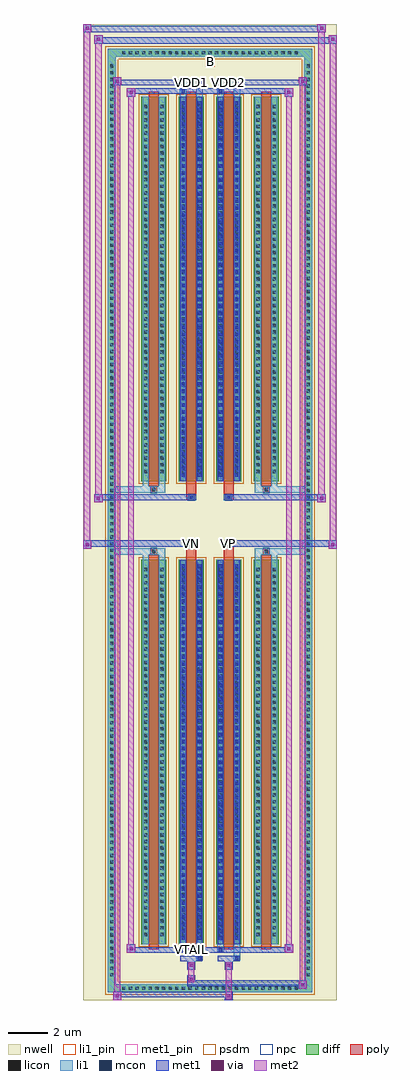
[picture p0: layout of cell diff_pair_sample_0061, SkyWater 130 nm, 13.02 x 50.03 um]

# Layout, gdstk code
import gdstk
lib = gdstk.Library(unit=1e-6, precision=5e-09)
def R(c, l, rs):  # rectangles x0, y0, x1, y1
    for r in rs: c.add(gdstk.rectangle(r[:2], r[2:], *l))
def A(c, l, x, y, w, h, nx, ny, dx, dy):  # array of equal rectangles
    R(c, l, [(x+i*dx, y+j*dy, x+i*dx+w, y+j*dy+h) for i in range(nx) for j in range(ny)])
def P(c, l, *ps):  # polygons
    for p in ps: c.add(gdstk.Polygon(p, *l))
nwell = (64, 20)
diff = (65, 20)
poly = (66, 20)
licon = (66, 44)
li1_pin = (67, 16)
li1 = (67, 20)
mcon = (67, 44)
met1_pin = (68, 16)
met1 = (68, 20)
via = (68, 44)
met2 = (69, 20)
psdm = (94, 20)
npc = (95, 20)

diff_pair_sample_0061 = lib.new_cell('diff_pair_sample_0061')
R(diff_pair_sample_0061, nwell, [(-6.51,-24.58,6.51,25.45), (-3.83,-22.77,-0.01,-0.825), (0.01,-22.77,3.83,-0.825), (-3.83,0.825,-0.01,22.77), (0.01,0.825,3.83,22.77)])
A(diff_pair_sample_0061, diff, -4.625, -24.18, 0.41, 0.41, 27, 2, 0.34, 47.95)
A(diff_pair_sample_0061, diff, -5.24, -23.495, 0.41, 0.41, 1, 138, 0, 0.34)
A(diff_pair_sample_0061, diff, 4.83, -23.495, 0.41, 0.41, 1, 138, 0, 0.34)
A(diff_pair_sample_0061, diff, -3.52, -21.725, 1.28, 19.72, 4, 2, 1.92, 23.73)
R(diff_pair_sample_0061, diff, [(-4.625,-24.18,4.625,-23.77), (-5.24,-23.495,-4.83,23.495), (4.83,-23.495,5.24,23.495), (-4.625,23.77,4.625,24.18)])
P(diff_pair_sample_0061, diff, [(5.24,24.18),(-5.24,24.18),(-5.24,-23.77),(-4.83,-23.77),(-4.83,23.77),(4.83,23.77),(4.83,-23.77),(-4.83,-23.77),(-5.24,-23.77),(-5.24,-24.18),(5.24,-24.18)])
A(diff_pair_sample_0061, poly, -3.13, -21.975, 0.5, 20.22, 4, 2, 1.92, 23.73)
R(diff_pair_sample_0061, poly, [(-3.045,-1.755,-2.715,-1.425), (-3.045,-1.755,-2.715,-1.425), (-1.21,-1.755,-0.71,-1.355), (0.71,-1.755,1.21,-1.355), (2.715,-1.755,3.045,-1.425), (2.715,-1.755,3.045,-1.425), (-1.21,-1.355,-0.71,-1.025), (-1.125,-1.355,-0.795,-1.025), (0.71,-1.355,1.21,-1.025), (0.795,-1.355,1.125,-1.025), (-1.21,1.025,-0.71,1.355), (-1.125,1.025,-0.795,1.355), (0.71,1.025,1.21,1.355), (0.795,1.025,1.125,1.355), (-1.21,1.355,-0.71,1.755), (0.71,1.355,1.21,1.755), (-3.045,1.425,-2.715,1.755), (-3.045,1.425,-2.715,1.755), (2.715,1.425,3.045,1.755), (2.715,1.425,3.045,1.755)])
A(diff_pair_sample_0061, licon, -4.505, -24.06, 0.17, 0.17, 27, 2, 0.34, 47.95)
A(diff_pair_sample_0061, licon, -5.12, -23.375, 0.17, 0.17, 1, 138, 0, 0.34)
A(diff_pair_sample_0061, licon, 4.95, -23.375, 0.17, 0.17, 1, 138, 0, 0.34)
A(diff_pair_sample_0061, licon, -3.38, -21.3, 0.17, 0.17, 1, 56, 0, 0.34)
A(diff_pair_sample_0061, licon, -2.55, -21.3, 0.17, 0.17, 1, 56, 0, 0.34)
A(diff_pair_sample_0061, licon, -1.46, -21.3, 0.17, 0.17, 1, 56, 0, 0.34)
A(diff_pair_sample_0061, licon, -0.63, -21.3, 0.17, 0.17, 1, 56, 0, 0.34)
A(diff_pair_sample_0061, licon, 0.46, -21.3, 0.17, 0.17, 1, 56, 0, 0.34)
A(diff_pair_sample_0061, licon, 1.29, -21.3, 0.17, 0.17, 1, 56, 0, 0.34)
A(diff_pair_sample_0061, licon, 2.38, -21.3, 0.17, 0.17, 1, 56, 0, 0.34)
A(diff_pair_sample_0061, licon, 3.21, -21.3, 0.17, 0.17, 1, 56, 0, 0.34)
A(diff_pair_sample_0061, licon, -3.38, 2.43, 0.17, 0.17, 1, 56, 0, 0.34)
A(diff_pair_sample_0061, licon, -2.55, 2.43, 0.17, 0.17, 1, 56, 0, 0.34)
A(diff_pair_sample_0061, licon, -1.46, 2.43, 0.17, 0.17, 1, 56, 0, 0.34)
A(diff_pair_sample_0061, licon, -0.63, 2.43, 0.17, 0.17, 1, 56, 0, 0.34)
A(diff_pair_sample_0061, licon, 0.46, 2.43, 0.17, 0.17, 1, 56, 0, 0.34)
A(diff_pair_sample_0061, licon, 1.29, 2.43, 0.17, 0.17, 1, 56, 0, 0.34)
A(diff_pair_sample_0061, licon, 2.38, 2.43, 0.17, 0.17, 1, 56, 0, 0.34)
A(diff_pair_sample_0061, licon, 3.21, 2.43, 0.17, 0.17, 1, 56, 0, 0.34)
R(diff_pair_sample_0061, licon, [(-2.965,-1.675,-2.795,-1.505), (2.795,-1.675,2.965,-1.505), (-1.045,-1.275,-0.875,-1.105), (0.875,-1.275,1.045,-1.105), (-1.045,1.105,-0.875,1.275), (0.875,1.105,1.045,1.275), (-2.965,1.505,-2.795,1.675), (2.795,1.505,2.965,1.675)])
R(diff_pair_sample_0061, li1_pin, [(-0.25,23.27,0.25,23.77)])
A(diff_pair_sample_0061, li1, -4.585, -24.14, 0.33, 0.33, 27, 2, 0.34, 47.95)
A(diff_pair_sample_0061, li1, -5.2, -23.455, 0.33, 0.33, 1, 138, 0, 0.34)
A(diff_pair_sample_0061, li1, 4.87, -23.455, 0.33, 0.33, 1, 138, 0, 0.34)
A(diff_pair_sample_0061, li1, -1.46, -21.49, 0.17, 0.17, 1, 54, 0, 0.36)
A(diff_pair_sample_0061, li1, -0.63, -21.49, 0.17, 0.17, 1, 54, 0, 0.36)
A(diff_pair_sample_0061, li1, 0.46, -21.49, 0.17, 0.17, 1, 54, 0, 0.36)
A(diff_pair_sample_0061, li1, 1.29, -21.49, 0.17, 0.17, 1, 54, 0, 0.36)
A(diff_pair_sample_0061, li1, -3.46, -21.38, 0.33, 0.33, 1, 56, 0, 0.34)
A(diff_pair_sample_0061, li1, -2.63, -21.38, 0.33, 0.33, 1, 56, 0, 0.34)
A(diff_pair_sample_0061, li1, -1.54, -21.38, 0.33, 0.33, 1, 56, 0, 0.34)
A(diff_pair_sample_0061, li1, -0.71, -21.38, 0.33, 0.33, 1, 56, 0, 0.34)
A(diff_pair_sample_0061, li1, 0.38, -21.38, 0.33, 0.33, 1, 56, 0, 0.34)
A(diff_pair_sample_0061, li1, 1.21, -21.38, 0.33, 0.33, 1, 56, 0, 0.34)
A(diff_pair_sample_0061, li1, 2.3, -21.38, 0.33, 0.33, 1, 56, 0, 0.34)
A(diff_pair_sample_0061, li1, 3.13, -21.38, 0.33, 0.33, 1, 56, 0, 0.34)
A(diff_pair_sample_0061, li1, -1.46, 2.24, 0.17, 0.17, 1, 54, 0, 0.36)
A(diff_pair_sample_0061, li1, -0.63, 2.24, 0.17, 0.17, 1, 54, 0, 0.36)
A(diff_pair_sample_0061, li1, 0.46, 2.24, 0.17, 0.17, 1, 54, 0, 0.36)
A(diff_pair_sample_0061, li1, 1.29, 2.24, 0.17, 0.17, 1, 54, 0, 0.36)
A(diff_pair_sample_0061, li1, -3.46, 2.35, 0.33, 0.33, 1, 56, 0, 0.34)
A(diff_pair_sample_0061, li1, -2.63, 2.35, 0.33, 0.33, 1, 56, 0, 0.34)
A(diff_pair_sample_0061, li1, -1.54, 2.35, 0.33, 0.33, 1, 56, 0, 0.34)
A(diff_pair_sample_0061, li1, -0.71, 2.35, 0.33, 0.33, 1, 56, 0, 0.34)
A(diff_pair_sample_0061, li1, 0.38, 2.35, 0.33, 0.33, 1, 56, 0, 0.34)
A(diff_pair_sample_0061, li1, 1.21, 2.35, 0.33, 0.33, 1, 56, 0, 0.34)
A(diff_pair_sample_0061, li1, 2.3, 2.35, 0.33, 0.33, 1, 56, 0, 0.34)
A(diff_pair_sample_0061, li1, 3.13, 2.35, 0.33, 0.33, 1, 56, 0, 0.34)
R(diff_pair_sample_0061, li1, [(-5.24,-24.18,-4.83,-23.77), (-5.24,-24.18,-4.83,-23.77), (-4.83,-24.18,4.83,-23.77), (4.83,-24.18,5.24,-23.77), (4.83,-24.18,5.24,-23.77), (-5.24,-23.77,-4.83,23.77), (4.83,-23.77,5.24,23.77), (-0.71,-22.53,-0.38,-21.725), (-0.63,-22.53,-0.46,-22.36), (1.21,-22.53,1.54,-21.725), (1.29,-22.53,1.46,-22.36), (-1.54,-22.1,-1.21,-21.725), (-1.46,-22.1,-1.29,-21.93), (0.38,-22.1,0.71,-21.725), (0.46,-22.1,0.63,-21.93), (-3.46,-21.725,-3.13,-2.005), (-2.63,-21.725,-2.3,-2.005), (-1.54,-21.725,-1.21,-2.005), (-0.71,-21.725,-0.38,-2.005), (0.38,-21.725,0.71,-2.005), (1.21,-21.725,1.54,-2.005), (2.3,-21.725,2.63,-2.005), (3.13,-21.725,3.46,-2.005), (-1.46,-21.49,-1.29,-2.24), (-0.63,-21.49,-0.46,-2.24), (0.46,-21.49,0.63,-2.24), (1.29,-21.49,1.46,-2.24), (-3.46,-2.005,-3.13,-1.425), (-2.63,-2.005,-2.3,-1.425), (2.3,-2.005,2.63,-1.425), (3.13,-2.005,3.46,-1.425), (-5.24,-1.755,-3.045,-1.425), (-3.46,-1.755,-3.045,-1.425), (-3.045,-1.755,-2.715,-1.425), (-2.715,-1.755,-2.3,-1.425), (2.3,-1.755,2.715,-1.425), (2.715,-1.755,3.045,-1.425), (2.715,-1.755,5.24,-1.425), (3.045,-1.755,3.46,-1.425), (-1.125,-1.355,-0.795,-1.025), (0.795,-1.355,1.125,-1.025), (-1.125,1.025,-0.795,1.355), (0.795,1.025,1.125,1.355), (-5.24,1.425,-3.045,1.755), (-3.46,1.425,-3.045,1.755), (-3.46,1.425,-3.13,2.005), (-3.045,1.425,-2.715,1.755), (-2.715,1.425,-2.3,1.755), (-2.63,1.425,-2.3,2.005), (2.3,1.425,2.715,1.755), (2.3,1.425,2.63,2.005), (2.715,1.425,3.045,1.755), (2.715,1.425,5.24,1.755), (3.045,1.425,3.46,1.755), (3.13,1.425,3.46,2.005), (-3.46,2.005,-3.13,21.725), (-2.63,2.005,-2.3,21.725), (-1.54,2.005,-1.21,21.725), (-0.71,2.005,-0.38,21.725), (0.38,2.005,0.71,21.725), (1.21,2.005,1.54,21.725), (2.3,2.005,2.63,21.725), (3.13,2.005,3.46,21.725), (-1.46,2.24,-1.29,21.49), (-0.63,2.24,-0.46,21.49), (0.46,2.24,0.63,21.49), (1.29,2.24,1.46,21.49), (-1.54,21.725,-1.21,22.1), (-0.71,21.725,-0.38,22.53), (0.38,21.725,0.71,22.1), (1.21,21.725,1.54,22.53), (-1.46,21.93,-1.29,22.1), (0.46,21.93,0.63,22.1), (-0.63,22.36,-0.46,22.53), (1.29,22.36,1.46,22.53), (-5.24,23.77,-4.83,24.18), (-5.24,23.77,-4.83,24.18), (-4.83,23.77,4.83,24.18), (4.83,23.77,5.24,24.18), (4.83,23.77,5.24,24.18)])
A(diff_pair_sample_0061, mcon, -1.46, -21.49, 0.17, 0.17, 1, 54, 0, 0.36)
A(diff_pair_sample_0061, mcon, -0.63, -21.49, 0.17, 0.17, 1, 54, 0, 0.36)
A(diff_pair_sample_0061, mcon, 0.46, -21.49, 0.17, 0.17, 1, 54, 0, 0.36)
A(diff_pair_sample_0061, mcon, 1.29, -21.49, 0.17, 0.17, 1, 54, 0, 0.36)
A(diff_pair_sample_0061, mcon, -1.46, 2.24, 0.17, 0.17, 1, 54, 0, 0.36)
A(diff_pair_sample_0061, mcon, -0.63, 2.24, 0.17, 0.17, 1, 54, 0, 0.36)
A(diff_pair_sample_0061, mcon, 0.46, 2.24, 0.17, 0.17, 1, 54, 0, 0.36)
A(diff_pair_sample_0061, mcon, 1.29, 2.24, 0.17, 0.17, 1, 54, 0, 0.36)
R(diff_pair_sample_0061, mcon, [(-0.63,-22.53,-0.46,-22.36), (1.29,-22.53,1.46,-22.36), (-1.46,-22.1,-1.29,-21.93), (0.46,-22.1,0.63,-21.93), (-1.045,-1.275,-0.875,-1.105), (0.875,-1.275,1.045,-1.105), (-1.045,1.105,-0.875,1.275), (0.875,1.105,1.045,1.275), (-1.46,21.93,-1.29,22.1), (0.46,21.93,0.63,22.1), (-0.63,22.36,-0.46,22.53), (1.29,22.36,1.46,22.53)])
R(diff_pair_sample_0061, met1_pin, [(-1.095,-22.14,-0.825,-21.87), (-1.095,-1.295,-0.825,-1.025), (0.825,-1.295,1.095,-1.025), (-1.095,22.32,-0.825,22.59), (0.825,22.32,1.095,22.59)])
A(diff_pair_sample_0061, met1, -1.52, -21.55, 0.29, 0.29, 1, 54, 0, 0.36)
A(diff_pair_sample_0061, met1, -0.69, -21.55, 0.29, 0.29, 1, 54, 0, 0.36)
A(diff_pair_sample_0061, met1, 0.4, -21.55, 0.29, 0.29, 1, 54, 0, 0.36)
A(diff_pair_sample_0061, met1, 1.23, -21.55, 0.29, 0.29, 1, 54, 0, 0.36)
A(diff_pair_sample_0061, met1, -1.52, 2.18, 0.29, 0.29, 1, 54, 0, 0.36)
A(diff_pair_sample_0061, met1, -0.69, 2.18, 0.29, 0.29, 1, 54, 0, 0.36)
A(diff_pair_sample_0061, met1, 0.4, 2.18, 0.29, 0.29, 1, 54, 0, 0.36)
A(diff_pair_sample_0061, met1, 1.23, 2.18, 0.29, 0.29, 1, 54, 0, 0.36)
R(diff_pair_sample_0061, met1, [(-4.97,-24.58,-4.54,-24.15), (0.745,-24.58,1.175,-24.15), (-4.97,-24.44,1.175,-24.15), (4.54,-24.01,4.97,-23.58), (-1.175,-23.87,4.97,-23.58), (-1.175,-23.73,-0.745,-23.3), (-1.175,-23.02,-0.745,-22.59), (0.745,-23.02,1.175,-22.59), (-1.52,-22.59,-0.4,-22.3), (-0.69,-22.59,-0.4,-22.3), (0.4,-22.59,1.52,-22.3), (1.23,-22.59,1.52,-22.3), (-4.26,-22.16,-3.83,-21.73), (-4.26,-22.16,-1.52,-21.87), (-1.52,-22.16,-1.23,-21.87), (-1.52,-22.16,-0.4,-21.87), (-0.4,-22.16,0.4,-21.87), (0.4,-22.16,0.69,-21.87), (0.4,-22.16,1.52,-21.87), (1.52,-22.16,4.26,-21.87), (3.83,-22.16,4.26,-21.73), (-1.52,-21.725,-1.23,-2.005), (-0.69,-21.725,-0.4,-2.005), (0.4,-21.725,0.69,-2.005), (1.23,-21.725,1.52,-2.005), (-6.51,-1.455,-6.08,-1.025), (6.08,-1.455,6.51,-1.025), (-6.51,-1.355,-0.71,-1.025), (-1.21,-1.355,-0.71,-1.025), (0.71,-1.355,1.21,-1.025), (0.71,-1.355,6.51,-1.025), (-1.105,-1.335,-0.815,-1.045), (0.815,-1.335,1.105,-1.045), (-5.94,0.925,-5.51,1.355), (5.51,0.925,5.94,1.355), (-5.94,1.025,-1.21,1.355), (-1.21,1.025,-0.71,1.355), (0.71,1.025,1.21,1.355), (1.21,1.025,5.94,1.355), (-1.105,1.045,-0.815,1.335), (0.815,1.045,1.105,1.335), (-1.52,2.005,-1.23,21.725), (-0.69,2.005,-0.4,21.725), (0.4,2.005,0.69,21.725), (1.23,2.005,1.52,21.725), (-4.26,21.73,-3.83,22.16), (3.83,21.73,4.26,22.16), (-4.26,21.87,-1.52,22.16), (-1.52,21.87,-1.23,22.16), (-1.52,21.87,-0.4,22.16), (-0.4,21.87,0.4,22.16), (0.4,21.87,0.69,22.16), (0.4,21.87,1.52,22.16), (1.52,21.87,4.26,22.16), (-4.97,22.3,-4.54,22.73), (-4.97,22.3,-1.52,22.59), (-1.52,22.3,-0.4,22.59), (-0.69,22.3,-0.4,22.59), (0.4,22.3,1.52,22.59), (1.23,22.3,1.52,22.59), (1.52,22.3,4.97,22.59), (4.54,22.3,4.97,22.73), (-5.94,24.45,-5.51,24.88), (-5.94,24.45,-3.83,24.78), (-3.83,24.45,3.83,24.78), (3.83,24.45,6.51,24.78), (6.08,24.45,6.51,24.88), (-6.51,25.02,-6.08,25.45), (-6.51,25.02,-3.83,25.35), (-3.83,25.02,3.83,25.35), (3.83,25.02,5.94,25.35), (5.51,25.02,5.94,25.45)])
R(diff_pair_sample_0061, via, [(-4.83,-24.44,-4.68,-24.29), (0.885,-24.44,1.035,-24.29), (4.68,-23.87,4.83,-23.72), (-1.035,-23.59,-0.885,-23.44), (-1.035,-22.88,-0.885,-22.73), (0.885,-22.88,1.035,-22.73), (-4.12,-22.02,-3.97,-21.87), (3.97,-22.02,4.12,-21.87), (-6.37,-1.315,-6.22,-1.165), (6.22,-1.315,6.37,-1.165), (-5.8,1.065,-5.65,1.215), (5.65,1.065,5.8,1.215), (-4.12,21.87,-3.97,22.02), (3.97,21.87,4.12,22.02), (-4.83,22.44,-4.68,22.59), (4.68,22.44,4.83,22.59), (-5.8,24.59,-5.65,24.74), (6.22,24.59,6.37,24.74), (-6.37,25.16,-6.22,25.31), (5.65,25.16,5.8,25.31)])
R(diff_pair_sample_0061, met2, [(-4.97,-24.58,-4.54,-24.15), (-4.9,-24.58,-4.61,22.73), (-4.61,-24.58,-4.54,-24.15), (-4.92,-24.53,-4.59,-24.2), (0.795,-24.53,1.125,-24.2), (0.795,-24.2,1.125,-22.97), (4.54,-24.01,4.97,-23.58), (4.61,-24.01,4.9,22.73), (4.9,-24.01,4.97,-23.58), (4.59,-23.96,4.92,-23.63), (-1.125,-23.68,-0.795,-23.35), (-1.125,-23.35,-0.795,-22.97), (-1.125,-22.97,-0.795,-22.64), (0.795,-22.97,1.125,-22.64), (-4.26,-22.16,-3.83,-21.73), (-4.19,-22.16,-3.9,22.16), (-3.9,-22.16,-3.83,-21.73), (3.83,-22.16,4.26,-21.73), (3.9,-22.16,4.19,22.16), (4.19,-22.16,4.26,-21.73), (-4.21,-22.11,-3.88,-21.78), (3.88,-22.11,4.21,-21.78), (-6.51,-1.455,-6.08,-1.025), (-6.46,-1.455,-6.13,25.45), (-6.13,-1.455,-6.08,-1.025), (6.08,-1.455,6.51,-1.025), (6.13,-1.455,6.46,24.88), (6.46,-1.455,6.51,-1.025), (-6.46,-1.405,-6.13,-1.075), (6.13,-1.405,6.46,-1.075), (-5.94,0.925,-5.51,1.355), (-5.89,0.925,-5.56,24.88), (-5.56,0.925,-5.51,1.355), (5.51,0.925,5.94,1.355), (5.56,0.925,5.89,25.45), (5.89,0.925,5.94,1.355), (-5.89,0.975,-5.56,1.305), (5.56,0.975,5.89,1.305), (-4.26,21.73,-3.83,22.16), (-3.9,21.73,-3.83,22.16), (3.83,21.73,4.26,22.16), (4.19,21.73,4.26,22.16), (-4.21,21.78,-3.88,22.11), (3.88,21.78,4.21,22.11), (-4.97,22.3,-4.54,22.73), (-4.61,22.3,-4.54,22.73), (4.54,22.3,4.97,22.73), (4.9,22.3,4.97,22.73), (-4.92,22.35,-4.59,22.68), (4.59,22.35,4.92,22.68), (-5.94,24.45,-5.51,24.88), (-5.56,24.45,-5.51,24.88), (6.08,24.45,6.51,24.88), (6.46,24.45,6.51,24.88), (-5.89,24.5,-5.56,24.83), (6.13,24.5,6.46,24.83), (-6.51,25.02,-6.08,25.45), (-6.13,25.02,-6.08,25.45), (5.51,25.02,5.94,25.45), (5.89,25.02,5.94,25.45), (-6.46,25.07,-6.13,25.4), (5.56,25.07,5.89,25.4)])
A(diff_pair_sample_0061, psdm, -3.65, -21.855, 1.54, 19.98, 4, 2, 1.92, 23.73)
P(diff_pair_sample_0061, psdm, [(5.37,24.31),(-5.37,24.31),(-5.37,-23.64),(-4.7,-23.64),(-4.7,23.64),(4.7,23.64),(4.7,-23.64),(-4.7,-23.64),(-5.37,-23.64),(-5.37,-24.31),(5.37,-24.31)])
R(diff_pair_sample_0061, npc, [(-3.065,-1.775,-2.695,-1.405), (2.695,-1.775,3.065,-1.405), (-1.145,-1.375,-0.775,-1.005), (0.775,-1.375,1.145,-1.005), (-1.145,1.005,-0.775,1.375), (0.775,1.005,1.145,1.375), (-3.065,1.405,-2.695,1.775), (2.695,1.405,3.065,1.775)])
diff_pair_sample_0061.add(gdstk.Label('VTAIL', (-0.96,-22.005), layer=68, texttype=5))
diff_pair_sample_0061.add(gdstk.Label('VN', (-0.96,-1.16), layer=68, texttype=5))
diff_pair_sample_0061.add(gdstk.Label('VP', (0.96,-1.16), layer=68, texttype=5))
diff_pair_sample_0061.add(gdstk.Label('B', (0,23.52), layer=67, texttype=5))
diff_pair_sample_0061.add(gdstk.Label('VDD2', (0.96,22.455), layer=68, texttype=5))
diff_pair_sample_0061.add(gdstk.Label('VDD1', (-0.96,22.455), layer=68, texttype=5))

lib.write_gds('diff_pair_sample_0061.gds')
